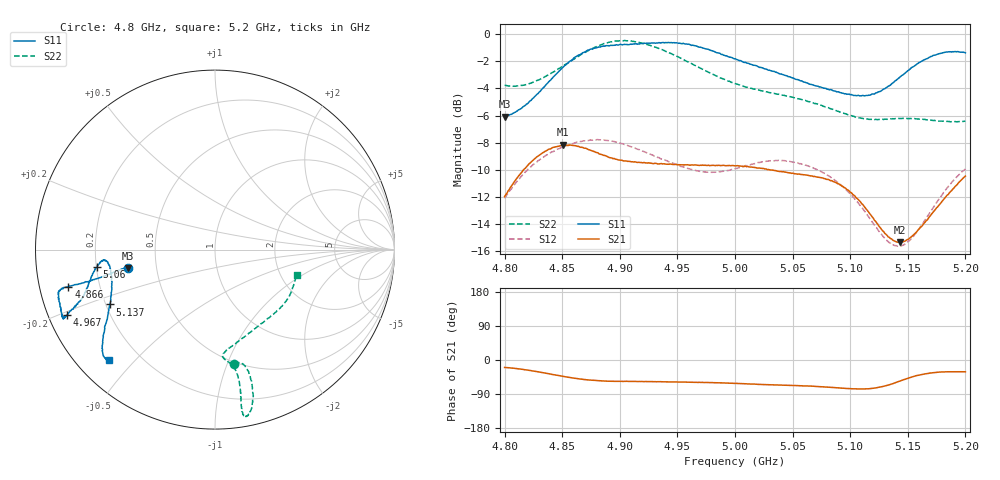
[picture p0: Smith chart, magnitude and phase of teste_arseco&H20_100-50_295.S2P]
! Network Analyzer HP8722D
! Hewlett-Packard
! Data name: Linha & Wilkinson
! Saver's name: Rodrigo Anjos
! Comments: Teste da utilização de aquisição
! continua pelo VNA HP8722D
! Time and date: 6/5/2025 15:01
!  Frequency  S11  S21  S12  S22
# HZ  S  MA R 50
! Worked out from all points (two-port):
!   401 points, 4.8 GHz to 5.2 GHz, reference 50 ohm
!   highest |S21| = -8.15 dB at 4.851 GHz (marker M1); lowest = -15.3 dB at 5.143 GHz (marker M2)
!   |S21| within 3 dB of the highest: 4.806 GHz to 5.092 GHz (286 MHz wide, 5.78 % of centre); 5.191935 GHz to end of sweep
!   lowest |S11| = -6.1 dB at 4.8 GHz (marker M3), VSWR 2.97, Z = 17 - j4.58 ohm
!   |S11| at or under -10 dB: nowhere
!   |S22| runs from -6.5 to -0.5 dB; largest |S21 - S12| = 0.62
!   S11 on the Smith chart (normalised r, x): 4.8 GHz: 0.34, -0.09; 4.866 GHz: 0.09, -0.12; 4.967 GHz: 0.05, -0.21; 5.06 GHz: 0.20, -0.07; 5.137 GHz: 0.22, -0.23; 5.2 GHz: 0.09, -0.42
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4.8e9  0.4966 -168.2  0.2523 -19.7  0.2487 -140.9  0.6481 -80.4
4.824e9  0.5776 -167.5  0.3411 -28.8  0.3287 -144.0  0.6628 -75.9
4.851e9  0.7566 -165.8  0.3913 -43.3  0.3847 -149.2  0.7649 -74.5
4.866e9  0.8421 -165.8  0.383 -50.2  0.4023 -151.9  0.8384 -75.3
4.867e9  0.8486 -165.8  0.3831 -50.7  0.4026 -152.1  0.8437 -75.3
4.898e9  0.9109 -162.9  0.345 -56.3  0.3987 -156.4  0.9424 -78.8
4.914e9  0.9207 -159.6  0.3382 -56.6  0.379 -157.1  0.9357 -80.2
4.934e9  0.9298 -156.4  0.3325 -57.3  0.3511 -155.7  0.8835 -80.5
4.967e9  0.902 -156.1  0.329 -58.9  0.3135 -148.0  0.7585 -79.6
5e9  0.8108 -159.0  0.3273 -61.8  0.3197 -137.2  0.6569 -81.3
5.035e9  0.7245 -165.3  0.3146 -65.8  0.3424 -134.3  0.6033 -85.7
5.06e9  0.665 -171.7  0.3031 -68.2  0.3305 -136.0  0.5709 -84.3
5.067e9  0.6508 -173.0  0.3007 -69.0  0.3232 -136.7  0.5591 -82.7
5.084e9  0.6226 -174.5  0.2889 -72.4  0.2953 -138.4  0.5295 -76.2
5.101e9  0.5985 -172.0  0.2608 -75.8  0.2559 -138.8  0.5008 -66.6
5.117e9  0.5958 -164.8  0.2182 -75.5  0.2095 -135.1  0.4852 -55.0
5.134e9  0.645 -154.2  0.1785 -65.3  0.1707 -120.7  0.4868 -43.2
5.137e9  0.6604 -152.5  0.1743 -62.4  0.1678 -116.8  0.4881 -41.6
5.143e9  0.692 -149.3  0.1711 -55.9  0.1662 -109.1  0.4888 -38.1
5.154e9  0.7555 -144.4  0.1809 -44.4  0.1791 -95.1  0.4882 -32.4
5.172e9  0.8338 -138.9  0.2212 -33.6  0.2296 -81.3  0.4804 -24.5
5.2e9  0.8519 -133.7  0.3001 -31.4  0.3188 -76.9  0.4782 -17.6
